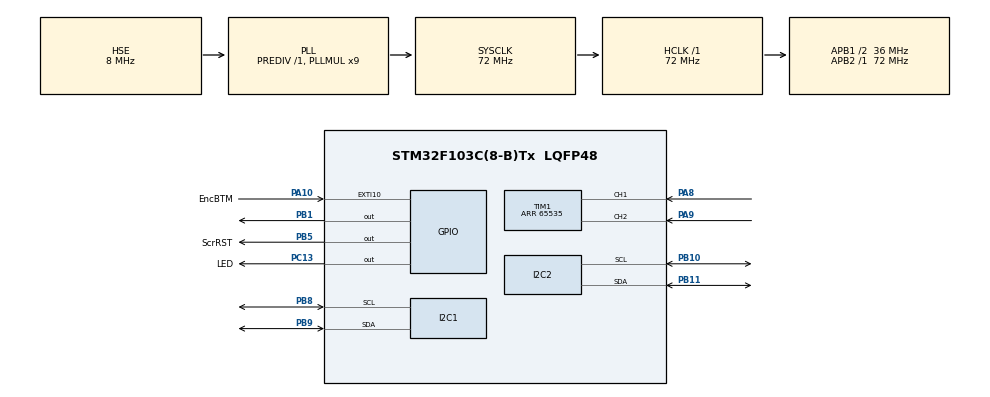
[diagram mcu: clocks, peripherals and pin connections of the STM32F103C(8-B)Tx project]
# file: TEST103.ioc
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FREERTOS.Tasks01=defaultTask,0,128,StartDefaultTask,Default;TaskScrRefresh,-3,128,StartTaskScrRefresh,Default;TaskSi7021,-3,128,StartTaskSi7021,Default;myTaskEnc,-3,128,StartTaskEnc,Default
FREERTOS.configTOTAL_HEAP_SIZE=5000
I2C1.I2C_Mode=I2C_Fast
I2C2.DualAddressMode=I2C_DUALADDRESS_DISABLE
I2C2.GeneralCallMode=I2C_GENERALCALL_DISABLE
I2C2.I2C_Mode=I2C_Fast
I2C2.NoStretchMode=I2C_NOSTRETCH_DISABLE
Mcu.Family=STM32F1
Mcu.Name=STM32F103C(8-B)Tx
Mcu.Package=LQFP48
NVIC.EXTI15_10_IRQn=true\:5\:0\:false\:false\:true\:true
NVIC.PriorityGroup=NVIC_PRIORITYGROUP_4
PA10.GPIO_Label=EncBTM
PA10.GPIO_ModeDefaultEXTI=GPIO_MODE_IT_FALLING
PA10.GPIO_PuPd=GPIO_PULLUP
PA10.Signal=GPXTI10
PA13.Mode=Serial_Wire
PA13.Signal=SYS_JTMS-SWDIO
PA14.Mode=Serial_Wire
PA14.Signal=SYS_JTCK-SWCLK
PA8.Signal=S_TIM1_CH1
PA9.Signal=S_TIM1_CH2
PB1.GPIO_Speed=GPIO_SPEED_FREQ_HIGH
PB1.PinState=GPIO_PIN_SET
PB1.Signal=GPIO_Output
PB10.Mode=I2C
PB10.Signal=I2C2_SCL
PB11.Mode=I2C
PB11.Signal=I2C2_SDA
PB5.GPIO_Label=ScrRST
PB5.GPIO_Speed=GPIO_SPEED_FREQ_HIGH
PB5.PinState=GPIO_PIN_SET
PB5.Signal=GPIO_Output
PB8.Mode=I2C
PB8.Signal=I2C1_SCL
PB9.Mode=I2C
PB9.Signal=I2C1_SDA
PC13-TAMPER-RTC.GPIO_Label=LED
PC13-TAMPER-RTC.GPIO_Speed=GPIO_SPEED_FREQ_HIGH
PC13-TAMPER-RTC.PinState=GPIO_PIN_SET
PC13-TAMPER-RTC.Signal=GPIO_Output
PC14-OSC32_IN.Mode=LSE-External-Oscillator
PC14-OSC32_IN.Signal=RCC_OSC32_IN
PC15-OSC32_OUT.Mode=LSE-External-Oscillator
PC15-OSC32_OUT.Signal=RCC_OSC32_OUT
PD0-OSC_IN.Mode=HSE-External-Oscillator
PD0-OSC_IN.Signal=RCC_OSC_IN
PD1-OSC_OUT.Mode=HSE-External-Oscillator
PD1-OSC_OUT.Signal=RCC_OSC_OUT
ProjectManager.HeapSize=0x400
ProjectManager.StackSize=0x800
ProjectManager.TargetToolchain=MDK-ARM V5
RCC.AHBFreq_Value=72000000
RCC.APB1CLKDivider=RCC_HCLK_DIV2
RCC.APB1Freq_Value=36000000
RCC.APB1TimFreq_Value=72000000
RCC.APB2Freq_Value=72000000
RCC.APB2TimFreq_Value=72000000
RCC.HCLKFreq_Value=72000000
RCC.HSIState=RCC_HSI_ON
RCC.PLLMUL=RCC_PLL_MUL9
RCC.PLLSourceVirtual=RCC_PLLSOURCE_HSE
RCC.SYSCLKFreq_VALUE=72000000
RCC.SYSCLKSource=RCC_SYSCLKSOURCE_PLLCLK
RCC.USBFreq_Value=72000000
RTC.Format=RTC_FORMAT_BIN
RTC.Hours=12
RTC.Minutes=59
RTC.Seconds=30
SH.S_TIM1_CH1.0=TIM1_CH1,Encoder_Interface
SH.S_TIM1_CH2.0=TIM1_CH2,Encoder_Interface
TIM1.IC1Filter=0xf
TIM1.IC1Polarity=TIM_ICPOLARITY_FALLING
TIM1.IC1Prescaler=TIM_ICPSC_DIV4
TIM1.IC2Filter=0xF
TIM1.IC2Polarity=TIM_ICPOLARITY_FALLING
TIM1.IC2Prescaler=TIM_ICPSC_DIV4
TIM1.Period=65535
VP_FREERTOS_VS_ENABLE.Mode=Enabled
VP_RTC_No_RTC_Output.Mode=RTC_OUT_NO
VP_RTC_VS_RTC_Activate.Mode=RTC_Enabled
VP_RTC_VS_RTC_Calendar.Mode=RTC_Calendar
board=TEST103

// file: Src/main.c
/**
  ******************************************************************************
  * File Name          : main.c
  * Description        : Main program body
  ******************************************************************************
  *
  * Copyright (c) 2016 STMicroelectronics International N.V.
  * All rights reserved.
  *
  * Redistribution and use in source and binary forms, with or without
  * modification, are permitted, provided that the following conditions are met:
  *
  * 1. Redistribution of source code must retain the above copyright notice,
  *    this list of conditions and the following disclaimer.
  * 2. Redistributions in binary form must reproduce the above copyright notice,
  *    this list of conditions and the following disclaimer in the documentation
  *    and/or other materials provided with the distribution.
  * 3. Neither the name of STMicroelectronics nor the names of other
  *    contributors to this software may be used to endorse or promote products
  *    derived from this software without specific written permission.
  * 4. This software, including modifications and/or derivative works of this
  *    software, must execute solely and exclusively on microcontroller or
  *    microprocessor devices manufactured by or for STMicroelectronics.
  * 5. Redistribution and use of this software other than as permitted under
  *    this license is void and will automatically terminate your rights under
  *    this license.
  *
  * THIS SOFTWARE IS PROVIDED BY STMICROELECTRONICS AND CONTRIBUTORS "AS IS"
  * AND ANY EXPRESS, IMPLIED OR STATUTORY WARRANTIES, INCLUDING, BUT NOT
  * LIMITED TO, THE IMPLIED WARRANTIES OF MERCHANTABILITY, FITNESS FOR A
  * PARTICULAR PURPOSE AND NON-INFRINGEMENT OF THIRD PARTY INTELLECTUAL PROPERTY
  * RIGHTS ARE DISCLAIMED TO THE FULLEST EXTENT PERMITTED BY LAW. IN NO EVENT
  * SHALL STMICROELECTRONICS OR CONTRIBUTORS BE LIABLE FOR ANY DIRECT, INDIRECT,
  * INCIDENTAL, SPECIAL, EXEMPLARY, OR CONSEQUENTIAL DAMAGES (INCLUDING, BUT NOT
  * LIMITED TO, PROCUREMENT OF SUBSTITUTE GOODS OR SERVICES; LOSS OF USE, DATA,
  * OR PROFITS; OR BUSINESS INTERRUPTION) HOWEVER CAUSED AND ON ANY THEORY OF
  * LIABILITY, WHETHER IN CONTRACT, STRICT LIABILITY, OR TORT (INCLUDING
  * NEGLIGENCE OR OTHERWISE) ARISING IN ANY WAY OUT OF THE USE OF THIS SOFTWARE,
  * EVEN IF ADVISED OF THE POSSIBILITY OF SUCH DAMAGE.
  *
  ******************************************************************************
  */
#include "main.h"
#include "stm32f1xx_hal.h"
#include "cmsis_os.h"

/* USER CODE BEGIN Includes */
#include <stdlib.h>
#include <stdio.h> /* for printf */
#include <string.h>
#include <cstdio>
#include <cstdlib>
#include "math.h"
#include "..\..\ssd1306\ssd1306.h" /* for printf */
//#include "I2Cdev.h"
/* USER CODE END Includes */

I2C_HandleTypeDef hi2c1;
I2C_HandleTypeDef hi2c2;

RTC_HandleTypeDef hrtc;

TIM_HandleTypeDef htim1;

osThreadId defaultTaskHandle;
osThreadId TaskScrRefreshHandle;
osThreadId TaskSi7021Handle;
osThreadId myTaskEncHandle;

/* USER CODE BEGIN PV */
/* Private variables ---------------------------------------------------------*/
static int16_t Enc1;
RTC_TimeTypeDef Time;
RTC_DateTypeDef Date;
const char *day[] = {"Mon", "Tue", "Wed", "Thu", "Fri", "Sat", "Sun"};
const char *months[] = {"Jan", "Feb", "Mar", "Apr", "May", "Jun", "Jul", "Aug", "Sep", "Oct", "Nov", "Dec"};
/* USER CODE END PV */

void SystemClock_Config(void);
void Error_Handler(void);
static void MX_GPIO_Init(void);
static void MX_I2C1_Init(void);
static void MX_TIM1_Init(void);
static void MX_RTC_Init(void);
static void MX_I2C2_Init(void);
void StartDefaultTask(void const * argument);
void StartTaskScrRefresh(void const * argument);
void StartTaskSi7021(void const * argument);
void StartTaskEnc(void const * argument);

/* USER CODE BEGIN PFP */
/* Private function prototypes -----------------------------------------------*/

/* USER CODE END PFP */

/* USER CODE BEGIN 0 */
//extern I2C_HandleTypeDef * I2Cdev_hi2c;

/* USER CODE END 0 */

int main(void)
{

  /* MCU Configuration----------------------------------------------------------*/

  /* Reset of all peripherals, Initializes the Flash interface and the Systick. */
  HAL_Init();

  /* Configure the system clock */
  SystemClock_Config();

  /* Initialize all configured peripherals */
  MX_GPIO_Init();
  MX_I2C1_Init();
  MX_TIM1_Init();
  MX_RTC_Init();
  MX_I2C2_Init();

  /* USER CODE BEGIN 2 */
		for (int i=0; i<2; i++) {
		HAL_GPIO_WritePin(GPIOC, GPIO_PIN_13, GPIO_PIN_RESET);
		HAL_Delay(100);
		HAL_GPIO_WritePin(GPIOC, GPIO_PIN_13, GPIO_PIN_SET);
		HAL_Delay(100);
	}
	ssd1306InitI2C(SSD1306_EXTERNALVCC);
	for (int i=0; i<2; i++) {
		HAL_GPIO_WritePin(GPIOC, GPIO_PIN_13, GPIO_PIN_RESET);
		HAL_Delay(100);
		HAL_GPIO_WritePin(GPIOC, GPIO_PIN_13, GPIO_PIN_SET);
		HAL_Delay(100);
	}
	//HAL_TIM_Base_Start_IT(&htim1);
	if(HAL_TIM_Encoder_Start(&htim1,TIM_CHANNEL_ALL)!=HAL_OK){
		//Error_Handler(2);
	}
	//TIM1->CNT=720;TIM2->CNT=720;
	char td[]= __TIME__ " " __DATE__;
	Time.Hours = atoi(td);
  Time.Minutes = atoi(td+3);
  Time.Seconds = 0;

  if (HAL_RTC_SetTime(&hrtc, &Time, RTC_FORMAT_BIN) != HAL_OK)
  {
    Error_Handler();
  }

  //Date.WeekDay = RTC_WEEKDAY_MONDAY;
	Date.Date = atoi(td+13);
  Date.Year = atoi(td+18);
	unsigned char mon;
  *(td + 12) = 0;
  for (int i = 0; i < 12; i++)
  {
    if (!strcmp(td+9, months[i]))
    {
      mon = i+1;
    }
  }
  Date.Month = mon;

  if (HAL_RTC_SetDate(&hrtc, &Date, RTC_FORMAT_BIN) != HAL_OK)
  {
    Error_Handler();
  }
	Enc1=(int16_t)TIM1->CNT;
  /* USER CODE END 2 */

  /* Create the thread(s) */
  /* definition and creation of defaultTask */
  osThreadDef(defaultTask, StartDefaultTask, osPriorityNormal, 0, 128);
  defaultTaskHandle = osThreadCreate(osThread(defaultTask), NULL);

  /* definition and creation of TaskScrRefresh */
  osThreadDef(TaskScrRefresh, StartTaskScrRefresh, osPriorityIdle, 0, 128);
  TaskScrRefreshHandle = osThreadCreate(osThread(TaskScrRefresh), NULL);

  /* definition and creation of TaskSi7021 */
  osThreadDef(TaskSi7021, StartTaskSi7021, osPriorityIdle, 0, 128);
  TaskSi7021Handle = osThreadCreate(osThread(TaskSi7021), NULL);

  /* definition and creation of myTaskEnc */
  osThreadDef(myTaskEnc, StartTaskEnc, osPriorityIdle, 0, 128);
  myTaskEncHandle = osThreadCreate(osThread(myTaskEnc), NULL);

  /* Start scheduler */
  osKernelStart();

  /* We should never get here as control is now taken by the scheduler */

  /* Infinite loop */
  while (1)
  {

  /* USER CODE BEGIN 3 */

		//devAddr++;
  }
  /* USER CODE END 3 */

}

/** System Clock Configuration
*/
void SystemClock_Config(void)
{

  RCC_OscInitTypeDef RCC_OscInitStruct;
  RCC_ClkInitTypeDef RCC_ClkInitStruct;
  RCC_PeriphCLKInitTypeDef PeriphClkInit;

    /**Initializes the CPU, AHB and APB busses clocks
    */
  RCC_OscInitStruct.OscillatorType = RCC_OSCILLATORTYPE_LSI|RCC_OSCILLATORTYPE_HSE;
  RCC_OscInitStruct.HSEState = RCC_HSE_ON;
  RCC_OscInitStruct.HSEPredivValue = RCC_HSE_PREDIV_DIV1;
  RCC_OscInitStruct.HSIState = RCC_HSI_ON;
  RCC_OscInitStruct.LSIState = RCC_LSI_ON;
  RCC_OscInitStruct.PLL.PLLState = RCC_PLL_ON;
  RCC_OscInitStruct.PLL.PLLSource = RCC_PLLSOURCE_HSE;
  RCC_OscInitStruct.PLL.PLLMUL = RCC_PLL_MUL9;
  if (HAL_RCC_OscConfig(&RCC_OscInitStruct) != HAL_OK)
  {
    Error_Handler();
  }

    /**Initializes the CPU, AHB and APB busses clocks
    */
  RCC_ClkInitStruct.ClockType = RCC_CLOCKTYPE_HCLK|RCC_CLOCKTYPE_SYSCLK
                              |RCC_CLOCKTYPE_PCLK1|RCC_CLOCKTYPE_PCLK2;
  RCC_ClkInitStruct.SYSCLKSource = RCC_SYSCLKSOURCE_PLLCLK;
  RCC_ClkInitStruct.AHBCLKDivider = RCC_SYSCLK_DIV1;
  RCC_ClkInitStruct.APB1CLKDivider = RCC_HCLK_DIV2;
  RCC_ClkInitStruct.APB2CLKDivider = RCC_HCLK_DIV1;

  if (HAL_RCC_ClockConfig(&RCC_ClkInitStruct, FLASH_LATENCY_2) != HAL_OK)
  {
    Error_Handler();
  }

  PeriphClkInit.PeriphClockSelection = RCC_PERIPHCLK_RTC;
  PeriphClkInit.RTCClockSelection = RCC_RTCCLKSOURCE_LSI;
  if (HAL_RCCEx_PeriphCLKConfig(&PeriphClkInit) != HAL_OK)
  {
    Error_Handler();
  }

    /**Configure the Systick interrupt time
    */
  HAL_SYSTICK_Config(HAL_RCC_GetHCLKFreq()/1000);

    /**Configure the Systick
    */
  HAL_SYSTICK_CLKSourceConfig(SYSTICK_CLKSOURCE_HCLK);

  /* SysTick_IRQn interrupt configuration */
  HAL_NVIC_SetPriority(SysTick_IRQn, 15, 0);
}

/* I2C1 init function */
static void MX_I2C1_Init(void)
{

  hi2c1.Instance = I2C1;
  hi2c1.Init.ClockSpeed = 400000;
  hi2c1.Init.DutyCycle = I2C_DUTYCYCLE_2;
  hi2c1.Init.OwnAddress1 = 0;
  hi2c1.Init.AddressingMode = I2C_ADDRESSINGMODE_7BIT;
  hi2c1.Init.DualAddressMode = I2C_DUALADDRESS_DISABLE;
  hi2c1.Init.OwnAddress2 = 0;
  hi2c1.Init.GeneralCallMode = I2C_GENERALCALL_DISABLE;
  hi2c1.Init.NoStretchMode = I2C_NOSTRETCH_DISABLE;
  if (HAL_I2C_Init(&hi2c1) != HAL_OK)
  {
    Error_Handler();
  }

}

/* I2C2 init function */
static void MX_I2C2_Init(void)
{

  hi2c2.Instance = I2C2;
  hi2c2.Init.ClockSpeed = 400000;
  hi2c2.Init.DutyCycle = I2C_DUTYCYCLE_2;
  hi2c2.Init.OwnAddress1 = 0;
  hi2c2.Init.AddressingMode = I2C_ADDRESSINGMODE_7BIT;
  hi2c2.Init.DualAddressMode = I2C_DUALADDRESS_DISABLE;
  hi2c2.Init.OwnAddress2 = 0;
  hi2c2.Init.GeneralCallMode = I2C_GENERALCALL_DISABLE;
  hi2c2.Init.NoStretchMode = I2C_NOSTRETCH_DISABLE;
  if (HAL_I2C_Init(&hi2c2) != HAL_OK)
  {
    Error_Handler();
  }

}

/* RTC init function */
static void MX_RTC_Init(void)
{

  RTC_TimeTypeDef sTime;
  RTC_DateTypeDef DateToUpdate;

    /**Initialize RTC Only
    */
  hrtc.Instance = RTC;
  hrtc.Init.AsynchPrediv = RTC_AUTO_1_SECOND;
  hrtc.Init.OutPut = RTC_OUTPUTSOURCE_NONE;
  if (HAL_RTC_Init(&hrtc) != HAL_OK)
  {
    Error_Handler();
  }

    /**Initialize RTC and set the Time and Date
    */
  sTime.Hours = 12;
  sTime.Minutes = 59;
  sTime.Seconds = 30;

  if (HAL_RTC_SetTime(&hrtc, &sTime, RTC_FORMAT_BIN) != HAL_OK)
  {
    Error_Handler();
  }

  DateToUpdate.WeekDay = RTC_WEEKDAY_MONDAY;
  DateToUpdate.Month = RTC_MONTH_JANUARY;
  DateToUpdate.Date = 1;
  DateToUpdate.Year = 0;

  if (HAL_RTC_SetDate(&hrtc, &DateToUpdate, RTC_FORMAT_BIN) != HAL_OK)
  {
    Error_Handler();
  }

}

/* TIM1 init function */
static void MX_TIM1_Init(void)
{

  TIM_Encoder_InitTypeDef sConfig;
  TIM_MasterConfigTypeDef sMasterConfig;

  htim1.Instance = TIM1;
  htim1.Init.Prescaler = 0;
  htim1.Init.CounterMode = TIM_COUNTERMODE_UP;
  htim1.Init.Period = 65535;
  htim1.Init.ClockDivision = TIM_CLOCKDIVISION_DIV1;
  htim1.Init.RepetitionCounter = 0;
  sConfig.EncoderMode = TIM_ENCODERMODE_TI1;
  sConfig.IC1Polarity = TIM_ICPOLARITY_FALLING;
  sConfig.IC1Selection = TIM_ICSELECTION_DIRECTTI;
  sConfig.IC1Prescaler = TIM_ICPSC_DIV4;
  sConfig.IC1Filter = 0xf;
  sConfig.IC2Polarity = TIM_ICPOLARITY_FALLING;
  sConfig.IC2Selection = TIM_ICSELECTION_DIRECTTI;
  sConfig.IC2Prescaler = TIM_ICPSC_DIV4;
  sConfig.IC2Filter = 0xF;
  if (HAL_TIM_Encoder_Init(&htim1, &sConfig) != HAL_OK)
  {
    Error_Handler();
  }

  sMasterConfig.MasterOutputTrigger = TIM_TRGO_RESET;
  sMasterConfig.MasterSlaveMode = TIM_MASTERSLAVEMODE_DISABLE;
  if (HAL_TIMEx_MasterConfigSynchronization(&htim1, &sMasterConfig) != HAL_OK)
  {
    Error_Handler();
  }

}

/** Configure pins as
        * Analog
        * Input
        * Output
        * EVENT_OUT
        * EXTI
*/
static void MX_GPIO_Init(void)
{

  GPIO_InitTypeDef GPIO_InitStruct;

  /* GPIO Ports Clock Enable */
  __HAL_RCC_GPIOC_CLK_ENABLE();
  __HAL_RCC_GPIOD_CLK_ENABLE();
  __HAL_RCC_GPIOB_CLK_ENABLE();
  __HAL_RCC_GPIOA_CLK_ENABLE();

  /*Configure GPIO pin Output Level */
  HAL_GPIO_WritePin(LED_GPIO_Port, LED_Pin, GPIO_PIN_SET);

  /*Configure GPIO pin Output Level */
  HAL_GPIO_WritePin(GPIOB, GPIO_PIN_1|ScrRST_Pin, GPIO_PIN_SET);

  /*Configure GPIO pin : LED_Pin */
  GPIO_InitStruct.Pin = LED_Pin;
  GPIO_InitStruct.Mode = GPIO_MODE_OUTPUT_PP;
  GPIO_InitStruct.Speed = GPIO_SPEED_FREQ_HIGH;
  HAL_GPIO_Init(LED_GPIO_Port, &GPIO_InitStruct);

  /*Configure GPIO pins : PB1 ScrRST_Pin */
  GPIO_InitStruct.Pin = GPIO_PIN_1|ScrRST_Pin;
  GPIO_InitStruct.Mode = GPIO_MODE_OUTPUT_PP;
  GPIO_InitStruct.Speed = GPIO_SPEED_FREQ_HIGH;
  HAL_GPIO_Init(GPIOB, &GPIO_InitStruct);

  /*Configure GPIO pin : EncBTM_Pin */
  GPIO_InitStruct.Pin = EncBTM_Pin;
  GPIO_InitStruct.Mode = GPIO_MODE_IT_FALLING;
  GPIO_InitStruct.Pull = GPIO_PULLUP;
  HAL_GPIO_Init(EncBTM_GPIO_Port, &GPIO_InitStruct);

  /* EXTI interrupt init*/
  HAL_NVIC_SetPriority(EXTI15_10_IRQn, 5, 0);
  HAL_NVIC_EnableIRQ(EXTI15_10_IRQn);

}

/* StartDefaultTask function */
void StartDefaultTask(void const * argument)
{

  /* USER CODE BEGIN 5 */
	char time_str[9], date_str[15];
  /* Infinite loop */
  for(;;)
  {

		HAL_RTC_GetTime(&hrtc, &Time, RTC_FORMAT_BIN);
		HAL_RTC_GetDate(&hrtc, &Date, RTC_FORMAT_BIN);

		sprintf(time_str, "%.2d:%.2d:%.2d", Time.Hours,Time.Minutes,Time.Seconds);
		ssd1306FillArea(0, 17, 128, 29);
		ssd1306DrawString(0, 16, time_str, digital7Mono_34ptFontInfo);

		sprintf(date_str, "%s %.1d %s 20%.1d", day[Date.WeekDay-1], Date.Date, months[Date.Month-1], Date.Year);
		uint8_t width=0;
		for (uint8_t i=0; i<strlen(date_str); i++) {
			width=width+arial_8ptFontInfo.FontTable[(date_str[i]) - arial_8ptFontInfo.FirstChar].width+arial_8ptFontInfo.FontSpace;
		}
		width=(width-arial_8ptFontInfo.FontSpace)/2;
		ssd1306FillArea(0, 0, 128, 10);
		ssd1306DrawString(63-width, 0, date_str, arial_8ptFontInfo);
		vTaskDelay(1000 / portTICK_RATE_MS);
  }
  /* USER CODE END 5 */
}

/* StartTaskScrRefresh function */
void StartTaskScrRefresh(void const * argument)
{
  /* USER CODE BEGIN StartTaskScrRefresh */
  /* Infinite loop */
  for(;;)
  {
    ssd1306Refresh();
    vTaskDelay(40 / portTICK_RATE_MS);
  }
  /* USER CODE END StartTaskScrRefresh */
}

/* StartTaskSi7021 function */
void StartTaskSi7021(void const * argument)
{
  /* USER CODE BEGIN StartTaskSi7021 */
	char s[10];
	uint8_t devAddr=0x80;
	uint8_t data[3];
	uint16_t outT = 0, outH = 0;
	uint8_t RH_READ 					= 0xE5;
	uint8_t TEMP_READ 				= 0xE3;
	//uint8_t POST_RH_TEMP_READ	= 0xE0;
	//uint8_t RESET							= 0xFE;
	//uint8_t USER1_READ				= 0xE7;
	//uint8_t USER1_WRITE				= 0xE6;
	#define HTU21D_CRC8_POLYNOMINAL              0x13100 /* CRC8 polynomial for 16bit CRC8 x^8 + x^5 + x^4 + 1 */
	uint8_t crc;
	uint16_t data1;
  /* Infinite loop */
  for(;;)
  {

		if(HAL_I2C_IsDeviceReady(&hi2c1, devAddr, 10, 100) == HAL_OK){
			ssd1306FillArea(0, 53, 77, 11);
			if (HAL_I2C_Master_Transmit(&hi2c1, devAddr, &TEMP_READ, 1, 100) != HAL_OK) Error_Handler();
			if (HAL_I2C_Master_Receive(&hi2c1, devAddr, data, 3, 100) != HAL_OK) Error_Handler();
			outT = ((((int32_t)(((data[0] << 8) | data[1]) & 0xFFFC)*17572)-(4685*65536))>>16)&0xFFFF;
			data1 = (data[0] << 8) | data[1];
			for (uint8_t bit = 0; bit < 16; bit++){
				if (data1 & 0x8000){
					data1 =  (data1 << 1) ^ HTU21D_CRC8_POLYNOMINAL;
				} else {
					data1 <<= 1;
				}
			}
			crc =  data1 >>= 8;
			if (crc == data[2]) sprintf(s, "T: %.2f", (float)outT/100); else sprintf(s, "T: error");
			ssd1306DrawString(0, 53, s, arial_8ptFontInfo);
			if (HAL_I2C_Master_Transmit(&hi2c1, devAddr, &RH_READ, 1, 100) != HAL_OK) Error_Handler();
			if (HAL_I2C_Master_Receive(&hi2c1, devAddr, data, 3, 100) != HAL_OK) Error_Handler();
			outH = ((((int32_t)(((data[0] << 8) | data[1]) & 0xFFFC)*125)-6)>>16)&0xFFFF;
			data1 = (data[0] << 8) | data[1];
			for (uint8_t bit = 0; bit < 16; bit++){
				if (data1 & 0x8000){
					data1 =  (data1 << 1) ^ HTU21D_CRC8_POLYNOMINAL;
				} else {
					data1 <<= 1;
				}
			}
			crc =  data1 >>= 8;
			if (crc == data[2]) sprintf(s, "H: %.2d%%", outH); else sprintf(s, "H: errrr");
			ssd1306DrawString(42, 53, s, arial_8ptFontInfo);
		} else {
			ssd1306FillArea(0, 53, 77, 11);
			sprintf(s, "HTU21 error");
			ssd1306DrawString(0, 53, s, arial_8ptFontInfo);
		}
    vTaskDelay(2000 / portTICK_RATE_MS);

  }
  /* USER CODE END StartTaskSi7021 */
}

/* StartTaskEnc function */
void StartTaskEnc(void const * argument)
{
  /* USER CODE BEGIN StartTaskEnc */
	char s[10];
  /* Infinite loop */
  for(;;)
  {
    Enc1=(int16_t)TIM1->CNT>>1;
		sprintf(s, "Enc: %.1d", Enc1);
		ssd1306FillArea(82, 53, 46, 11);
		ssd1306DrawString(82, 53, s, arial_8ptFontInfo);
		vTaskDelay(100 / portTICK_RATE_MS);
  }
  /* USER CODE END StartTaskEnc */
}

void Error_Handler(void)
{
  while(1)
  {
  }
}

/************************ (C) COPYRIGHT STMicroelectronics *****END OF FILE****/
